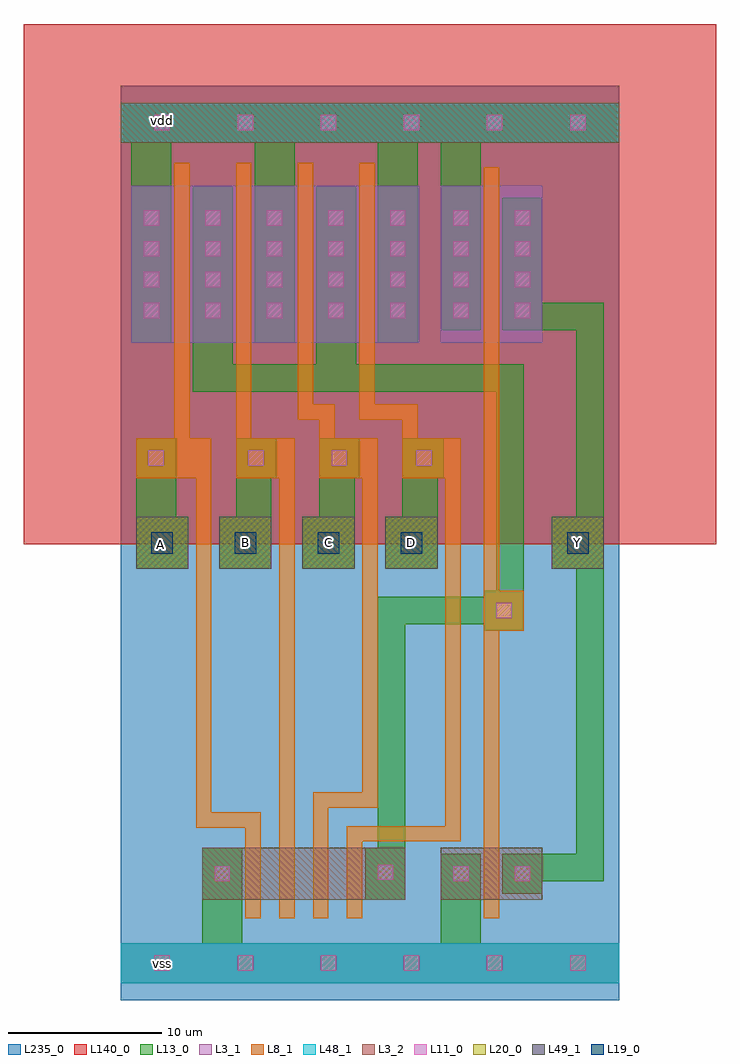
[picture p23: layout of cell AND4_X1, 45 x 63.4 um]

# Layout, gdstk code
import gdstk
lib = gdstk.Library(unit=1e-6, precision=1e-09)
def R(c, l, rs):  # rectangles x0, y0, x1, y1
    for r in rs: c.add(gdstk.rectangle(r[:2], r[2:], *l))
def A(c, l, x, y, w, h, nx, ny, dx, dy):  # array of equal rectangles
    R(c, l, [(x+i*dx, y+j*dy, x+i*dx+w, y+j*dy+h) for i in range(nx) for j in range(ny)])
def P(c, l, *ps):  # polygons
    for p in ps: c.add(gdstk.Polygon(p, *l))
L3_1 = (3, 1)
L3_2 = (3, 2)
L8_1 = (8, 1)
L11_0 = (11, 0)
L13_0 = (13, 0)
L19_0 = (19, 0)
L20_0 = (20, 0)
L48_1 = (48, 1)
L49_1 = (49, 1)
L140_0 = (140, 0)
L235_0 = (235, 0)

and4_x1 = lib.new_cell('AND4_X1')
R(and4_x1, L3_1, [(0,1.1,32.4,3.7), (0.7,42.7,7.3,52.9), (4.7,42.7,11.3,52.9), (11.3,42.7,19.4,52.9), (20.8,42.7,27.4,52.9)])
R(and4_x1, L3_2, [(5.3,6.5,18.5,9.9), (20.8,6.5,27.4,9.9), (0,55.7,32.4,58.3)])
P(and4_x1, L8_1, [(12.5,5.3),(12.5,13.5),(15.7,13.5),(15.7,33.9),(12.9,33.9),(12.9,37.7),(11.5,37.7),(11.5,54.4),(12.5,54.4),(12.5,38.7),(13.9,38.7),(13.9,36.5),(16.7,36.5),(16.7,12.5),(13.5,12.5),(13.5,5.3)],
  [(14.7,5.3),(14.7,11.3),(21.1,11.3),(21.1,33.9),(18.3,33.9),(18.3,37.7),(15.5,37.7),(15.5,54.4),(16.5,54.4),(16.5,38.7),(19.3,38.7),(19.3,36.5),(22.1,36.5),(22.1,10.3),(15.7,10.3),(15.7,5.3)],
  [(23.6,5.3),(23.6,54.1),(24.6,54.1),(24.6,26.6),(26.2,26.6),(26.2,24),(24.6,24),(24.6,5.3)],
  [(10.3,5.3),(10.3,13),(10.3,33.9),(7.5,33.9),(7.5,36.5),(7.5,54.4),(8.5,54.4),(8.5,36.5),(11.3,36.5),(11.3,12),(11.3,5.3)],
  [(8.1,5.3),(8.1,11.2),(4.9,11.2),(4.9,33.9),(1,33.9),(1,36.5),(3.5,36.5),(3.5,54.4),(4.5,54.4),(4.5,36.5),(5.9,36.5),(5.9,12.2),(9.1,12.2),(9.1,5.3)])
A(and4_x1, L11_0, 18.4, 1.9, 1, 1, 3, 2, 5.4, 54.6)
A(and4_x1, L11_0, 1.5, 44.3, 1, 1, 5, 4, 4, 2)
A(and4_x1, L11_0, 21.6, 44.3, 1, 1, 1, 4, 0, 2)
A(and4_x1, L11_0, 25.6, 44.3, 1, 1, 1, 4, 0, 2)
R(and4_x1, L11_0, [(2.2,1.9,3.2,2.9), (7.6,1.9,8.6,2.9), (7.6,1.9,8.6,2.9), (13,1.9,14,2.9), (13,1.9,14,2.9), (18.4,1.9,19.4,2.9), (6.1,7.7,7.1,8.7), (21.6,7.7,22.6,8.7), (25.6,7.7,26.6,8.7), (16.7,7.8,17.7,8.8), (24.4,24.8,25.4,25.8), (1.8,34.7,2.8,35.7), (8.3,34.7,9.3,35.7), (13.7,34.7,14.7,35.7), (19.2,34.7,20.2,35.7), (2.2,56.5,3.2,57.5), (2.2,56.5,3.2,57.5), (7.6,56.5,8.6,57.5), (7.6,56.5,8.6,57.5), (7.6,56.5,8.6,57.5), (7.6,56.5,8.6,57.5), (13,56.5,14,57.5), (13,56.5,14,57.5), (18.4,56.5,19.4,57.5)])
A(and4_x1, L13_0, 0.7, 42.7, 2.6, 13, 3, 1, 8, 0)
R(and4_x1, L13_0, [(5.3,3.7,7.9,9.9), (20.8,3.7,23.4,9.5), (15.9,6.5,18.5,9.9), (24.8,6.9,27.4,9.5), (20.8,43.5,23.4,55.7), (0,55.7,32.4,58.3)])
P(and4_x1, L13_0, [(11.8,28),(11.8,31.4),(12.9,31.4),(12.9,36.5),(15.5,36.5),(15.5,33.9),(15.2,33.9),(15.2,28)],
  [(27.4,7.7),(27.4,9.5),(29.6,9.5),(29.6,28),(28,28),(28,31.4),(29.6,31.4),(29.6,43.5),(24.8,43.5),(24.8,52.1),(27.4,52.1),(27.4,45.3),(31.4,45.3),(31.4,7.7)],
  [(16.7,9.9),(16.7,26.2),(23.6,26.2),(23.6,26.6),(24.4,26.6),(24.4,39.5),(4.7,39.5),(4.7,52.9),(7.3,52.9),(7.3,41.3),(12.7,41.3),(12.7,52.9),(15.3,52.9),(15.3,41.3),(26.2,41.3),(26.2,24),(23.6,24),(23.6,24.4),(18.5,24.4),(18.5,9.9)],
  [(1,28),(1,36.5),(3.6,36.5),(3.6,31.4),(4.4,31.4),(4.4,28)],
  [(0,1.1),(0,3.7),(0.7,3.7),(3.3,3.7),(32.4,3.7),(32.4,1.1)],
  [(6.4,28),(6.4,31.4),(7.5,31.4),(7.5,36.5),(10.1,36.5),(10.1,33.9),(9.8,33.9),(9.8,28)],
  [(17.2,28),(17.2,31.4),(18.3,31.4),(18.3,36.5),(21,36.5),(21,33.9),(20.6,33.9),(20.6,28)])
A(and4_x1, L19_0, 2, 29, 1.4, 1.4, 4, 1, 5.4, 0)
R(and4_x1, L19_0, [(29,29,30.4,30.4)])
A(and4_x1, L20_0, 1, 28, 3.4, 3.4, 4, 1, 5.4, 0)
R(and4_x1, L20_0, [(28,28,31.4,31.4)])
R(and4_x1, L48_1, [(0,1.1,32.4,3.7), (0,55.7,32.4,58.3)])
A(and4_x1, L49_1, 1, 28, 3.4, 3.4, 4, 1, 5.4, 0)
R(and4_x1, L49_1, [(28,28,31.4,31.4)])
R(and4_x1, L140_0, [(-6.3,29.6,38.7,63.4)])
R(and4_x1, L235_0, [(0,0,32.4,59.4)])
and4_x1.add(gdstk.Label('Y', (29.7,29.7), layer=49, texttype=0))
and4_x1.add(gdstk.Label('C', (13.5,29.7), layer=49, texttype=0))
and4_x1.add(gdstk.Label('D', (18.9,29.7), layer=49, texttype=0))
and4_x1.add(gdstk.Label('A', (2.6,29.6), layer=49, texttype=0))
and4_x1.add(gdstk.Label('B', (8.1,29.7), layer=49, texttype=0))
and4_x1.add(gdstk.Label('vss', (2.7,2.4), layer=48, texttype=0))
and4_x1.add(gdstk.Label('vdd', (2.7,57.1), layer=48, texttype=0))

lib.write_gds('AND4_X1.gds')
